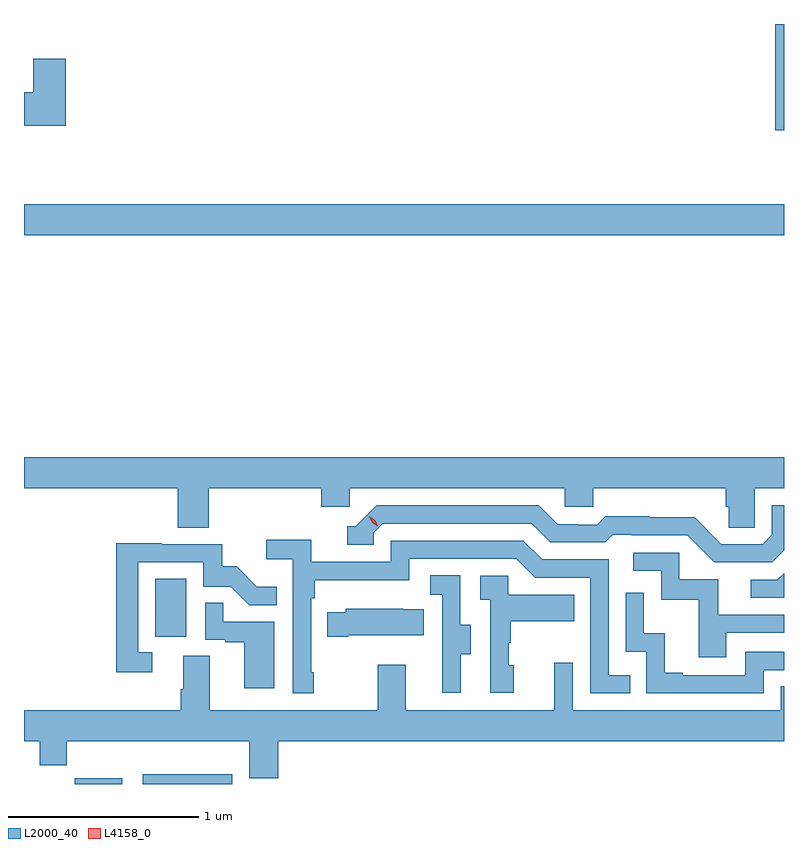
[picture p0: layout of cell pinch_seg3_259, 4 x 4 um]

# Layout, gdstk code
import gdstk
lib = gdstk.Library(unit=1e-6, precision=1e-09)
def R(c, l, rs):  # rectangles x0, y0, x1, y1
    for r in rs: c.add(gdstk.rectangle(r[:2], r[2:], *l))
def P(c, l, *ps):  # polygons
    for p in ps: c.add(gdstk.Polygon(p, *l))
L2000_40 = (2000, 40)
L4158_0 = (4158, 0)

pinch_seg3_259 = lib.new_cell('pinch_seg3_259')
R(pinch_seg3_259, L2000_40, [(932.794,720.672,933.043,720.703), (933.153,720.672,933.622,720.724), (933.218,721.446,933.382,721.753), (932.527,723.56,936.527,723.724), (936.482,724.113,936.527,724.672)])
P(pinch_seg3_259, L2000_40, [(932.747,724.489),(932.576,724.489),(932.576,724.312),(932.527,724.312),(932.527,724.136),(932.747,724.136)],
  [(933.5,722.228),(934.091,722.228),(934.091,722.13),(934.242,722.13),(934.242,722.228),(935.373,722.228),(935.373,722.13),(935.523,722.13),(935.523,722.228),(936.221,722.228),(936.221,722.13),(936.235,722.13),(936.235,722.02),(936.372,722.02),(936.372,722.228),(936.527,722.228),(936.527,722.392),(932.527,722.392),(932.527,722.228),(933.335,722.228),(933.335,722.02),(933.5,722.02)],
  [(936.527,721.901),(936.527,722.139),(936.462,722.139),(936.462,721.983),(936.414,721.935),(936.198,721.935),(936.056,722.077),(935.82,722.077),(935.82,722.08),(935.587,722.08),(935.545,722.037),(935.442,722.037),(935.442,722.04),(935.335,722.04),(935.236,722.139),(934.383,722.139),(934.272,722.028),(934.229,722.028),(934.229,721.932),(934.368,721.932),(934.368,721.995),(934.416,722.043),(935.199,722.043),(935.298,721.944),(935.587,721.944),(935.626,721.983),(935.725,721.983),(935.725,721.98),(936.018,721.98),(936.159,721.839),(936.465,721.839)],
  [(934.051,721.261),(934.038,721.261),(934.038,721.649),(934.058,721.649),(934.058,721.745),(934.554,721.745),(934.554,721.857),(935.118,721.857),(935.217,721.758),(935.508,721.758),(935.508,721.149),(935.717,721.149),(935.717,721.245),(935.604,721.245),(935.604,721.854),(935.254,721.854),(935.155,721.953),(934.458,721.953),(934.458,721.842),(934.04,721.842),(934.04,721.958),(933.801,721.958),(933.801,721.856),(933.942,721.856),(933.942,721.149),(934.051,721.149)],
  [(933.202,721.365),(933.129,721.365),(933.129,721.839),(933.471,721.839),(933.471,721.71),(933.615,721.71),(933.713,721.612),(933.857,721.612),(933.857,721.711),(933.753,721.711),(933.646,721.818),(933.57,721.818),(933.57,721.935),(933.251,721.935),(933.251,721.94),(933.013,721.94),(933.013,721.26),(933.202,721.26)],
  [(936.223,721.467),(936.527,721.467),(936.527,721.563),(936.181,721.563),(936.181,721.749),(935.976,721.749),(935.976,721.89),(935.733,721.89),(935.733,721.794),(935.88,721.794),(935.88,721.641),(936.079,721.641),(936.079,721.338),(936.223,721.338)],
  [(936.527,721.781),(936.492,721.746),(936.351,721.746),(936.351,721.653),(936.527,721.653)],
  [(934.825,721.354),(934.879,721.354),(934.879,721.509),(934.824,721.509),(934.824,721.772),(934.665,721.772),(934.665,721.669),(934.728,721.669),(934.728,721.365),(934.727,721.365),(934.727,721.152),(934.825,721.152)],
  [(935.104,721.296),(935.079,721.296),(935.079,721.415),(935.089,721.415),(935.089,721.529),(935.423,721.529),(935.423,721.669),(935.076,721.669),(935.076,721.767),(934.929,721.767),(934.929,721.643),(934.98,721.643),(934.98,721.152),(935.104,721.152)],
  [(936.42,721.272),(936.527,721.272),(936.527,721.368),(936.324,721.368),(936.324,721.245),(935.995,721.245),(935.995,721.258),(935.9,721.258),(935.9,721.466),(935.79,721.466),(935.79,721.678),(935.694,721.678),(935.694,721.368),(935.802,721.368),(935.802,721.149),(936.42,721.149)],
  [(933.844,721.527),(933.575,721.527),(933.575,721.625),(933.48,721.625),(933.48,721.431),(933.587,721.431),(933.587,721.419),(933.686,721.419),(933.686,721.176),(933.844,721.176)],
  [(934.234,721.454),(934.631,721.454),(934.631,721.591),(934.523,721.591),(934.523,721.594),(934.221,721.594),(934.221,721.576),(934.123,721.576),(934.123,721.447),(934.234,721.447)],
  [(933.866,720.896),(936.527,720.896),(936.527,721.187),(936.51,721.187),(936.51,721.06),(935.415,721.06),(935.415,721.309),(935.318,721.309),(935.318,721.06),(934.537,721.06),(934.537,721.3),(934.39,721.3),(934.39,721.06),(933.505,721.06),(933.505,721.346),(933.365,721.346),(933.365,721.172),(933.353,721.172),(933.353,721.06),(932.527,721.06),(932.527,720.896),(932.609,720.896),(932.609,720.772),(932.753,720.772),(932.753,720.896),(933.713,720.896),(933.713,720.702),(933.866,720.702)])
P(pinch_seg3_259, L4158_0, [(934.39,722.028),(934.36,722.047),(934.344,722.08),(934.344,722.08),(934.344,722.08),(934.375,722.061),(934.39,722.028),(934.39,722.028)])

lib.write_gds('pinch_seg3_259.gds')
